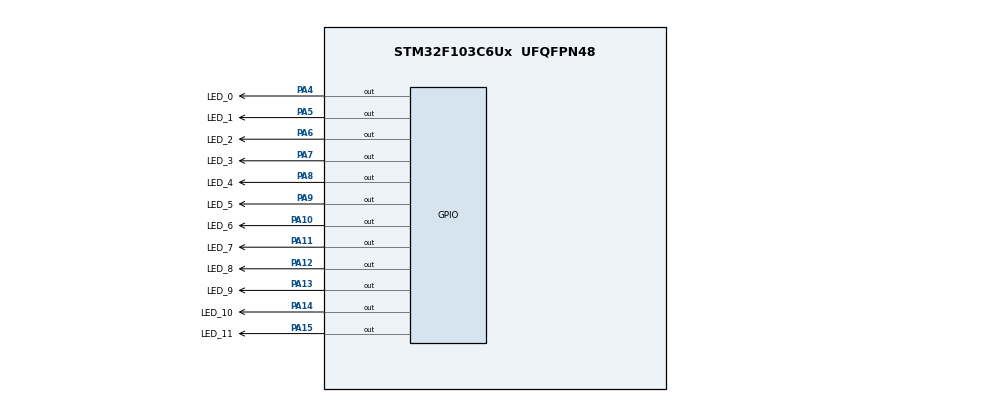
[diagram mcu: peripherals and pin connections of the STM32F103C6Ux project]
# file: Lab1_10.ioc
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Mcu.Family=STM32F1
Mcu.Name=STM32F103C6Ux
Mcu.Package=UFQFPN48
NVIC.PriorityGroup=NVIC_PRIORITYGROUP_4
PA10.GPIO_Label=LED_6
PA10.Signal=GPIO_Output
PA11.GPIO_Label=LED_7
PA11.Signal=GPIO_Output
PA12.GPIO_Label=LED_8
PA12.Signal=GPIO_Output
PA13.GPIO_Label=LED_9
PA13.Signal=GPIO_Output
PA14.GPIO_Label=LED_10
PA14.Signal=GPIO_Output
PA15.GPIO_Label=LED_11
PA15.Signal=GPIO_Output
PA4.GPIO_Label=LED_0
PA4.Signal=GPIO_Output
PA5.GPIO_Label=LED_1
PA5.Signal=GPIO_Output
PA6.GPIO_Label=LED_2
PA6.Signal=GPIO_Output
PA7.GPIO_Label=LED_3
PA7.Signal=GPIO_Output
PA8.GPIO_Label=LED_4
PA8.Signal=GPIO_Output
PA9.GPIO_Label=LED_5
PA9.Signal=GPIO_Output
ProjectManager.HeapSize=0x200
ProjectManager.StackSize=0x400
ProjectManager.TargetToolchain=STM32CubeIDE
RCC.APB1Freq_Value=8000000
RCC.APB2Freq_Value=8000000
VP_SYS_VS_ND.Mode=No_Debug
board=custom

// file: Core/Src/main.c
/* USER CODE BEGIN Header */
/**
  ******************************************************************************
  * @file           : main.c
  * @brief          : Main program body
  ******************************************************************************
  * @attention
  *
  * <h2><center>&copy; Copyright (c) 2025 STMicroelectronics.
  * All rights reserved.</center></h2>
  *
  * This software component is licensed by ST under BSD 3-Clause license,
  * the "License"; You may not use this file except in compliance with the
  * License. You may obtain a copy of the License at:
  *                        opensource.org/licenses/BSD-3-Clause
  *
  ******************************************************************************
  */
/* USER CODE END Header */
#include "main.h"

/* USER CODE BEGIN PD */
#define ON 0
#define OFF 1
/* USER CODE END PD */

void SystemClock_Config(void);
static void MX_GPIO_Init(void);
/* USER CODE BEGIN PFP */
void led_0(uint8_t n);
void led_1(uint8_t n);
void led_2(uint8_t n);
void led_3(uint8_t n);
void led_4(uint8_t n);
void led_5(uint8_t n);
void led_6(uint8_t n);
void led_7(uint8_t n);
void led_8(uint8_t n);
void led_9(uint8_t n);
void led_10(uint8_t n);
void led_11(uint8_t n);

void clearAllClock();
void setNumberOnClock(int num);
void clearNumberOnClock(int num);
void display_clock(uint16_t* pcount);
void init_state();

/* USER CODE END PFP */

int main(void)
{

  /* MCU Configuration--------------------------------------------------------*/

  /* Reset of all peripherals, Initializes the Flash interface and the Systick. */
  HAL_Init();

  /* Configure the system clock */
  SystemClock_Config();

  /* Initialize all configured peripherals */
  MX_GPIO_Init();
  /* USER CODE BEGIN 2 */
  uint16_t count[1] = {100};
  /* USER CODE END 2 */

  /* Infinite loop */
  /* USER CODE BEGIN WHILE */
  while (1)
  {
	  init_state();
	  display_clock(&count[0]);
	  HAL_Delay(10);
    /* USER CODE END WHILE */

  }
}

void SystemClock_Config(void)
{
  RCC_OscInitTypeDef RCC_OscInitStruct = {0};
  RCC_ClkInitTypeDef RCC_ClkInitStruct = {0};

  /** Initializes the RCC Oscillators according to the specified parameters
  * in the RCC_OscInitTypeDef structure.
  */
  RCC_OscInitStruct.OscillatorType = RCC_OSCILLATORTYPE_HSI;
  RCC_OscInitStruct.HSIState = RCC_HSI_ON;
  RCC_OscInitStruct.HSICalibrationValue = RCC_HSICALIBRATION_DEFAULT;
  RCC_OscInitStruct.PLL.PLLState = RCC_PLL_NONE;
  if (HAL_RCC_OscConfig(&RCC_OscInitStruct) != HAL_OK)
  {
    Error_Handler();
  }
  /** Initializes the CPU, AHB and APB buses clocks
  */
  RCC_ClkInitStruct.ClockType = RCC_CLOCKTYPE_HCLK|RCC_CLOCKTYPE_SYSCLK
                              |RCC_CLOCKTYPE_PCLK1|RCC_CLOCKTYPE_PCLK2;
  RCC_ClkInitStruct.SYSCLKSource = RCC_SYSCLKSOURCE_HSI;
  RCC_ClkInitStruct.AHBCLKDivider = RCC_SYSCLK_DIV1;
  RCC_ClkInitStruct.APB1CLKDivider = RCC_HCLK_DIV1;
  RCC_ClkInitStruct.APB2CLKDivider = RCC_HCLK_DIV1;

  if (HAL_RCC_ClockConfig(&RCC_ClkInitStruct, FLASH_LATENCY_0) != HAL_OK)
  {
    Error_Handler();
  }
}

static void MX_GPIO_Init(void)
{
  GPIO_InitTypeDef GPIO_InitStruct = {0};

  /* GPIO Ports Clock Enable */
  __HAL_RCC_GPIOA_CLK_ENABLE();

  /*Configure GPIO pin Output Level */
  HAL_GPIO_WritePin(GPIOA, LED_0_Pin|LED_1_Pin|LED_2_Pin|LED_3_Pin
                          |LED_4_Pin|LED_5_Pin|LED_6_Pin|LED_7_Pin
                          |LED_8_Pin|LED_9_Pin|LED_10_Pin|LED_11_Pin, GPIO_PIN_RESET);

  /*Configure GPIO pins : LED_0_Pin LED_1_Pin LED_2_Pin LED_3_Pin
                           LED_4_Pin LED_5_Pin LED_6_Pin LED_7_Pin
                           LED_8_Pin LED_9_Pin LED_10_Pin LED_11_Pin */
  GPIO_InitStruct.Pin = LED_0_Pin|LED_1_Pin|LED_2_Pin|LED_3_Pin
                          |LED_4_Pin|LED_5_Pin|LED_6_Pin|LED_7_Pin
                          |LED_8_Pin|LED_9_Pin|LED_10_Pin|LED_11_Pin;
  GPIO_InitStruct.Mode = GPIO_MODE_OUTPUT_PP;
  GPIO_InitStruct.Pull = GPIO_NOPULL;
  GPIO_InitStruct.Speed = GPIO_SPEED_FREQ_LOW;
  HAL_GPIO_Init(GPIOA, &GPIO_InitStruct);

}

/* USER CODE BEGIN 4 */
void led_0(uint8_t n){
	HAL_GPIO_WritePin(LED_0_GPIO_Port, LED_0_Pin, n);
}
void led_1(uint8_t n){
	HAL_GPIO_WritePin(LED_1_GPIO_Port, LED_1_Pin, n);
}
void led_2(uint8_t n){
	HAL_GPIO_WritePin(LED_2_GPIO_Port, LED_2_Pin, n);
}
void led_3(uint8_t n){
	HAL_GPIO_WritePin(LED_3_GPIO_Port, LED_3_Pin, n);
}
void led_4(uint8_t n){
	HAL_GPIO_WritePin(LED_4_GPIO_Port, LED_4_Pin, n);
}
void led_5(uint8_t n){
	HAL_GPIO_WritePin(LED_5_GPIO_Port, LED_5_Pin, n);
}
void led_6(uint8_t n){
	HAL_GPIO_WritePin(LED_6_GPIO_Port, LED_6_Pin, n);
}
void led_7(uint8_t n){
	HAL_GPIO_WritePin(LED_7_GPIO_Port, LED_7_Pin, n);
}
void led_8(uint8_t n){
	HAL_GPIO_WritePin(LED_8_GPIO_Port, LED_8_Pin, n);
}
void led_9(uint8_t n){
	HAL_GPIO_WritePin(LED_9_GPIO_Port, LED_9_Pin, n);
}
void led_10(uint8_t n){
	HAL_GPIO_WritePin(LED_10_GPIO_Port, LED_10_Pin, n);
}
void led_11(uint8_t n){
	HAL_GPIO_WritePin(LED_11_GPIO_Port, LED_11_Pin, n);
}

void clearAllClock (){
	led_0(OFF);
	led_1(OFF);
	led_2(OFF);
	led_3(OFF);
	led_4(OFF);
	led_5(OFF);
	led_6(OFF);
	led_7(OFF);
	led_8(OFF);
	led_9(OFF);
	led_10(OFF);
	led_11(OFF);
}
void setNumberOnClock(int num){
	switch(num){
	case 0:
		led_0(ON);
		break;
	case 1:
		led_1(ON);
		break;
	case 2:
		led_2(ON);
		break;
	case 3:
		led_3(ON);
		break;
	case 4:
		led_4(ON);
		break;
	case 5:
		led_5(ON);
		break;
	case 6:
		led_6(ON);
		break;
	case 7:
		led_7(ON);
		break;
	case 8:
		led_8(ON);
		break;
	case 9:
		led_9(ON);
		break;
	case 10:
		led_10(ON);
		break;
	case 11:
		led_11(ON);
		break;
	}

}
void clearNumberOnClock(int num){
	switch(num){
	case 0:
		led_0(OFF);
		break;
	case 1:
		led_1(OFF);
		break;
	case 2:
		led_2(OFF);
		break;
	case 3:
		led_3(OFF);
		break;
	case 4:
		led_4(OFF);
		break;
	case 5:
		led_5(OFF);
		break;
	case 6:
		led_6(OFF);
		break;
	case 7:
		led_7(OFF);
		break;
	case 8:
		led_8(OFF);
		break;
	case 9:
		led_9(OFF);
		break;
	case 10:
		led_10(OFF);
		break;
	case 11:
		led_11(OFF);
		break;
	}

}

void display_clock(uint16_t* pcount){
	static int sec = 0, min = 50, hour = 7;

	if(*pcount == 0){
		clearAllClock();
		setNumberOnClock(sec/5);
		setNumberOnClock(min/5);
		setNumberOnClock(hour);

		*pcount = 2;
		++sec;
	}
	if(sec == 60){
		sec = 0;
		++min;
	}
	if(min == 60){
		min = 0;
		++hour;
	}
	if(hour == 12) hour = 0;

	--*pcount;

}

void init_state(){
	static uint8_t init = 0;
	if(init == 0){
		++init;
		led_0(ON);
		led_1(ON);
		led_2(ON);
		led_3(ON);
		led_4(ON);
		led_5(ON);
		led_6(ON);
		led_7(ON);
		led_8(ON);
		led_9(ON);
		led_10(ON);
		led_11(ON);
	}
}

/* USER CODE END 4 */

void Error_Handler(void)
{
  __disable_irq();
  while (1)
  {
  }
}

/************************ (C) COPYRIGHT STMicroelectronics *****END OF FILE****/
